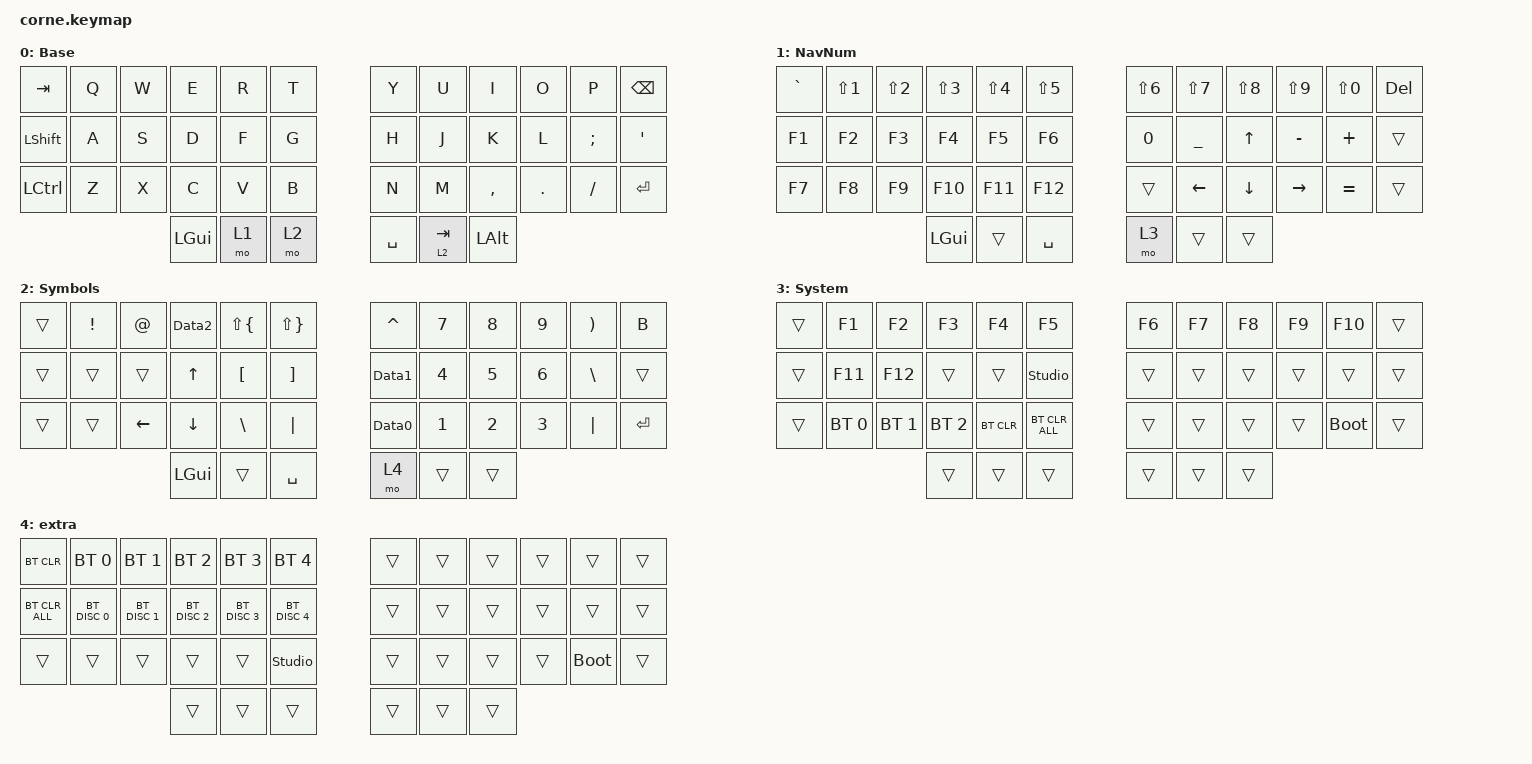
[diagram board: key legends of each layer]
#include <behaviors.dtsi>
#include <dt-bindings/zmk/bt.h>
#include <dt-bindings/zmk/keys.h>

#define DEF 0
#define NAV 1
#define SYM 2
#define ADJ 3
#define EXTRA 4

/ {
    behaviors {
        hm: homerow_mods {
            compatible = "zmk,behavior-hold-tap";
            label = "HOMEROW_MODS";
            #binding-cells = <2>;
            tapping-term-ms = <200>;
            quick_tap_ms = <0>;
            flavor = "tap-preferred";
            bindings = <&kp>, <&kp>;

            quick-tap-ms = <180>;
            global-quick-tap;
        };

        para: para {
            compatible = "zmk,behavior-tap-dance";
            label = "PARA";
            #binding-cells = <0>;
            bindings = <&kp LEFT_PARENTHESIS>, <&kp RIGHT_PARENTHESIS>;
        };

        caps: caps {
            compatible = "zmk,behavior-caps-word";
            label = "CAPS";
            #binding-cells = <0>;
            continue-list = <MINUS BACKSPACE>;
        };

        paraless: paraless {
            compatible = "zmk,behavior-mod-morph";
            label = "PARALESS";
            bindings = <&kp LEFT_PARENTHESIS>, <&kp LESS_THAN>;

            #binding-cells = <0>;
            mods = <(MOD_LSFT)>;
        };

        paragreat: paragreat {
            compatible = "zmk,behavior-mod-morph";
            label = "PARAGREAT";
            bindings = <&kp RIGHT_PARENTHESIS>, <&kp GREATER_THAN>;

            #binding-cells = <0>;
            mods = <(MOD_LSFT)>;
        };
    };

    macros {
        browsertab: browsertab {
            compatible = "zmk,behavior-macro";
            #binding-cells = <0>;
            bindings =
                <&macro_press>,
                <&kp LCTRL>,
                <&macro_tap>,
                <&kp TAB>,
                <&macro_release>,
                <&kp LCTRL>;
        };

        Data2: Data2 {
            compatible = "zmk,behavior-macro";
            #binding-cells = <0>;
            bindings = <&none &kp LS(M) &kp O &kp N9 &kp N5 &kp N9 &kp N5 &kp LS(B) &kp STAR>;
            label = "DATA2";
        };

        Data0: Data0 {
            compatible = "zmk,behavior-macro";
            #binding-cells = <0>;
            bindings = <&none &kp PRCNT &kp H &kp LS(W) &kp K &kp N4 &kp LS(I) &kp LS(L) &kp LS(E) &kp Z &kp J &kp N8 &kp N4 &kp U &kp N7 &kp Y &kp LS(P) &kp EXCL>;
            label = "DATA0";
        };

        Data1: Data1 {
            compatible = "zmk,behavior-macro";
            #binding-cells = <0>;
            bindings = <&none &kp A &kp N9 &kp N5 &kp M &kp A &kp C &kp D &kp O &kp N &kp A &kp L &kp D &kp AT &kp G &kp M &kp A &kp I &kp L &kp DOT &kp C &kp O &kp M>;
            label = "DATA1";
        };
    };

    combos {
        compatible = "zmk,combos";

        escape {
            bindings = <&kp ESCAPE>;
            key-positions = <13 29>;
        };

        delete {
            bindings = <&kp DELETE>;
            key-positions = <15 21>;
        };

        perc {
            bindings = <&kp PERCENT>;
            key-positions = <5 17>;
        };

        equal {
            bindings = <&kp EQUAL>;
            key-positions = <28 16>;
        };

        dollar {
            bindings = <&kp DOLLAR>;
            key-positions = <4 16>;
        };

        pound {
            bindings = <&kp POUND>;
            key-positions = <3 15>;
        };

        at {
            bindings = <&kp AT>;
            key-positions = <2 14>;
        };

        backslash {
            bindings = <&kp BACKSLASH>;
            key-positions = <26 14>;
        };

        copy {
            bindings = <&kp K_COPY>;
            key-positions = <28 27>;
        };

        paste {
            bindings = <&kp K_PASTE>;
            key-positions = <26 27>;
        };

        star {
            bindings = <&kp STAR>;
            key-positions = <8 20>;
        };

        slash {
            bindings = <&kp SLASH>;
            key-positions = <32 20>;
        };

        plus {
            bindings = <&kp PLUS>;
            key-positions = <7 19>;
        };

        minus {
            bindings = <&kp KP_MINUS>;
            key-positions = <31 19>;
        };

        underscore {
            bindings = <&kp UNDER>;
            key-positions = <30 18>;
        };

        leftbrack {
            bindings = <&kp LEFT_BRACKET>;
            key-positions = <31 32>;
        };

        rightbrack {
            bindings = <&kp RIGHT_BRACKET>;
            key-positions = <33 32>;
        };

        para-less {
            bindings = <&paraless>;
            key-positions = <20 19>;
        };

        para-great {
            bindings = <&paragreat>;
            key-positions = <20 21>;
        };
    };

    //

    keymap {
        compatible = "zmk,keymap";

        DEF {
            display-name = "Base";

            // -----------------------------------------------------------------------------------------
            // |  Q  |  W  |  E  |  R  |  T  |   |  Y  |  U   |  I  |  O  |  P  |
            // |  A  |  S  |  D  |  F  |  G  |   |  H  |  J   |  K  |  L  |  ;  |
            // |  Z  |  X  |  C  |  V  |  B  |   |  N  |  M   |  ,  |  .  |  /  |
            // | GUI | CTRL | SHFT | LWR | SPC |   | ENT | RSE  | BKSP | ALT | ESC |

            bindings = <
&kp TAB    &kp Q  &kp W  &kp E     &kp R  &kp T    &kp Y      &kp U      &kp I         &kp O    &kp P     &kp BACKSPACE
&kp LSHFT  &kp A  &kp S  &kp D     &kp F  &kp G    &kp H      &kp J      &kp K         &kp L    &kp SEMI  &kp SQT
&kp LCTRL  &kp Z  &kp X  &kp C     &kp V  &kp B    &kp N      &kp M      &kp COMMA     &kp DOT  &kp FSLH  &kp ENTER
                         &kp LGUI  &mo 1  &mo 2    &kp SPACE  &lt 2 TAB  &kp LEFT_ALT
            >;
        };

        Farrow {
            display-name = "NavNum";

            // -----------------------------------------------------------------------------------------
            // |  TAB |  1  |  2  |  3  |  4  |  5  |   |  6  |  7  |  8  |  9  |  0  | BKSP |
            // | BTCLR| BT1 | BT2 | BT3 | BT4 | BT5 |   | LFT | DWN |  UP | RGT |     |      |
            // | SHFT |     |     |     |     |     |   |     |     |     |     |     |      |
            // | GUI | CTRL | SHFT | LWR | SPC |   | ENT | RSE  | BKSP | ALT | ESC |

            bindings = <
&kp GRAVE  &kp LS(N1)  &kp LS(N2)  &kp LS(N3)  &kp LS(N4)  &kp LS(N5)    &kp LS(N6)  &kp LS(N7)      &kp LS(N8)    &kp LS(N9)  &kp LS(N0)  &kp DEL
&kp F1     &kp F2      &kp F3      &kp F4      &kp F5      &kp F6        &kp N0      &kp UNDERSCORE  &kp UP_ARROW  &kp MINUS   &kp PLUS    &trans
&kp F7     &kp F8      &kp F9      &kp F10     &kp F11     &kp F12       &trans      &kp LEFT        &kp DOWN      &kp RIGHT   &kp EQUAL   &trans
                                   &kp LGUI    &trans      &kp SPACE     &mo 3       &trans          &trans
            >;
        };

        SYM {
            display-name = "Symbols";

            // -----------------------------------------------------------------------------------------
            // |  TAB |  !  |  @  |  #  |  $  |  %  |   |  ^  |  &  |  *  |  (  |  )  | BKSP |
            // | CTRL |     |     |     |     |     |   |  -  |  =  |  [  |  ]  |  \  |  `   |
            // | SHFT |     |     |     |     |     |   |  _  |  +  |  {  |  }  | "|" |  ~   |
            //                    | GUI |     | SPC |   | ENT |     | ALT |

            bindings = <
&trans  &kp EXCL  &kp AT          &Data2          &kp LS(LEFT_BRACE)  &kp LS(RIGHT_BRACE)    &kp CARET  &kp N7        &kp N8        &kp N9        &kp RPAR  &kp B
&trans  &trans    &trans          &kp UP_ARROW    &kp LEFT_BRACKET    &kp RIGHT_BRACKET      &Data1     &kp NUMBER_4  &kp N5        &kp NUMBER_6  &kp BSLH  &trans
&trans  &trans    &kp LEFT_ARROW  &kp DOWN_ARROW  &kp BACKSLASH       &kp PIPE               &Data0     &kp NUMBER_1  &kp NUMBER_2  &kp NUMBER_3  &kp PIPE  &kp ENTER
                                  &kp LGUI        &trans              &kp SPACE              &mo 4      &trans        &trans
            >;
        };

        ADJ {
            display-name = "System";
            bindings = <
&trans  &kp F1        &kp F2        &kp F3        &kp F4      &kp F5            &kp F6  &kp F7  &kp F8  &kp F9  &kp F10      &trans
&trans  &kp F11       &kp F12       &trans        &trans      &studio_unlock    &trans  &trans  &trans  &trans  &trans       &trans
&trans  &bt BT_SEL 0  &bt BT_SEL 1  &bt BT_SEL 2  &bt BT_CLR  &bt BT_CLR_ALL    &trans  &trans  &trans  &trans  &bootloader  &trans
                                    &trans        &trans      &trans            &trans  &trans  &trans
            >;
        };

        EXTRA {
            display-name = "extra";
            bindings = <
&bt BT_CLR      &bt BT_SEL 0   &bt BT_SEL 1   &bt BT_SEL 2   &bt BT_SEL 3   &bt BT_SEL 4      &trans  &trans  &trans  &trans  &trans       &trans
&bt BT_CLR_ALL  &bt BT_DISC 0  &bt BT_DISC 1  &bt BT_DISC 2  &bt BT_DISC 3  &bt BT_DISC 4     &trans  &trans  &trans  &trans  &trans       &trans
&trans          &trans         &trans         &trans         &trans         &studio_unlock    &trans  &trans  &trans  &trans  &bootloader  &trans
                                              &trans         &trans         &trans            &trans  &trans  &trans
            >;
        };
    };

    conditional_layers {
        compatible = "zmk,conditional-layers";

        l3 {
            if-layers = <1 2>;
            then-layer = <3>;
        };
    };
};
